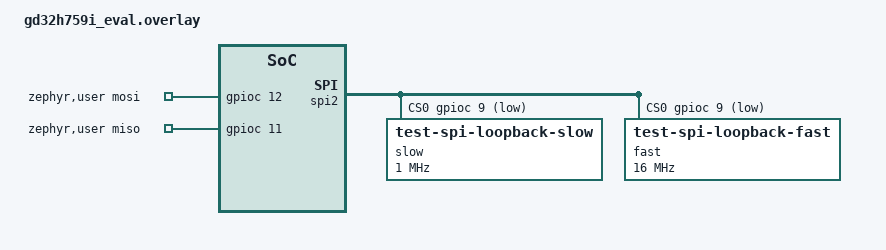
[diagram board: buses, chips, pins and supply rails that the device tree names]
/*
 * Copyright (c) 2026 GigaDevice Semiconductor Inc.
 *
 * SPDX-License-Identifier: Apache-2.0
 */

/ {
	zephyr,user {
		/* PC12 (MOSI) is shorted to PC11 (MISO) for the loopback test. */
		mosi-gpios = <&gpioc 12 GPIO_ACTIVE_HIGH>;
		miso-gpios = <&gpioc 11 GPIO_ACTIVE_HIGH>;
	};
};

&pinctrl {
	/* Default 2 MHz slew rate distorts SCK/MOSI at loopback speeds. */
	spi2_loopback: spi2_loopback {
		group1 {
			pinmux = <SPI2_SCK_PC10>, <SPI2_MOSI_PC12>, <SPI2_MISO_PC11>;
			slew-rate = "max-speed-50mhz";
		};
	};
};

&spi2 {
	status = "okay";
	pinctrl-0 = <&spi2_loopback>;
	pinctrl-names = "default";
	cs-gpios = <&gpioc 9 GPIO_ACTIVE_LOW>;

	/* APB2 / 256 is the slowest SCK; 500 kHz is below it on this SoC. */
	slow@0 {
		compatible = "test-spi-loopback-slow";
		reg = <0>;
		spi-max-frequency = <1000000>;
	};

	fast@0 {
		compatible = "test-spi-loopback-fast";
		reg = <0>;
		spi-max-frequency = <16000000>;
	};
};
